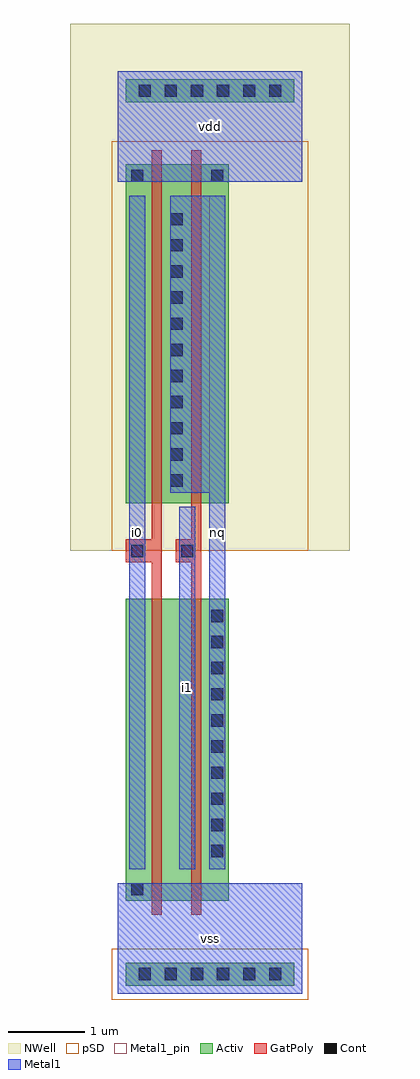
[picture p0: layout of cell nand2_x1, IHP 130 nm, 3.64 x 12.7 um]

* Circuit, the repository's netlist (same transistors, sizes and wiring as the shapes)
* nand2_x1
.subckt nand2_x1 vdd vss nq i0 i1
Xi0_nmos vss i0 _net0 vss sg13_lv_nmos l=0.13um w=3.93um
Xi0_pmos vdd i0 nq vdd sg13_lv_pmos l=0.13um w=4.41um
Xi1_nmos _net0 i1 nq vss sg13_lv_nmos l=0.13um w=3.93um
Xi1_pmos nq i1 vdd vdd sg13_lv_pmos l=0.13um w=4.41um
.ends nand2_x1

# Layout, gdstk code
import gdstk
lib = gdstk.Library(unit=1e-6, precision=1e-09)
def R(c, l, rs):  # rectangles x0, y0, x1, y1
    for r in rs: c.add(gdstk.rectangle(r[:2], r[2:], *l))
def A(c, l, x, y, w, h, nx, ny, dx, dy):  # array of equal rectangles
    R(c, l, [(x+i*dx, y+j*dy, x+i*dx+w, y+j*dy+h) for i in range(nx) for j in range(ny)])
Activ = (1, 0)
GatPoly = (5, 0)
Cont = (6, 0)
Metal1 = (8, 0)
Metal1_pin = (8, 2)
pSD = (14, 0)
NWell = (31, 0)

nand2_x1 = lib.new_cell('nand2_x1')
R(nand2_x1, Activ, [(0.105,0.105,2.295,0.405), (0.2,0.105,2.2,0.405), (0.105,1.21,0.405,1.51), (0.105,1.21,0.375,5.14), (0.105,1.21,0.405,5.14), (0.215,1.21,0.805,5.14), (0.58,1.21,0.95,5.14), (0.645,1.21,0.885,5.14), (0.725,1.21,1.315,5.14), (1.145,1.21,1.445,5.14), (1.155,1.21,1.445,5.14), (1.145,1.705,1.445,5.065), (0.105,6.38,0.405,10.79), (0.105,6.38,0.375,10.79), (0.215,6.38,0.805,10.79), (0.615,6.38,0.915,10.79), (0.645,6.38,0.885,10.79), (0.725,6.38,1.315,10.79), (1.145,6.38,1.445,10.79), (1.155,6.38,1.445,10.79), (0.615,6.525,0.915,10.225), (0.105,10.49,0.405,10.79), (1.145,10.49,1.445,10.79), (0.105,11.595,2.295,11.895), (0.2,11.595,2.2,11.895)])
R(nand2_x1, GatPoly, [(0.445,1.03,0.575,5.32), (0.445,1.03,0.575,6.2), (0.955,1.03,1.085,5.32), (0.955,1.03,1.085,6.2), (0.105,5.61,0.405,5.91), (0.255,5.61,0.51,5.91), (0.755,5.61,1.055,5.91), (0.905,5.61,1.02,5.91), (0.445,6.2,0.575,10.97), (0.955,6.2,1.085,10.97)])
A(nand2_x1, Cont, 0.27, 0.175, 0.16, 0.16, 6, 2, 0.34, 11.49)
A(nand2_x1, Cont, 1.215, 1.775, 0.16, 0.16, 1, 10, 0, 0.34)
A(nand2_x1, Cont, 0.685, 6.595, 0.16, 0.16, 1, 11, 0, 0.34)
R(nand2_x1, Cont, [(0.175,1.28,0.335,1.44), (0.175,5.68,0.335,5.84), (0.825,5.68,0.985,5.84), (0.175,10.56,0.335,10.72), (1.215,10.56,1.375,10.72)])
R(nand2_x1, Metal1, [(0,0,2.4,1.44), (0.27,0.095,2.13,0.415), (0.095,1.28,0.415,1.44), (0.15,1.62,0.36,10.38), (0.8,1.62,1.01,6.335), (1.19,1.62,1.4,10.38), (1.215,1.62,1.375,5.075), (1.215,1.695,1.375,5.075), (0.175,5.6,0.335,5.92), (0.825,5.6,0.985,5.92), (0.685,6.515,0.845,10.38), (0.685,6.515,0.845,10.235), (0.765,6.515,1.295,10.38), (1.19,6.515,1.4,6.835), (0,10.56,2.4,12), (0.095,10.56,0.415,10.72), (1.135,10.56,1.455,10.72), (0.27,11.585,2.13,11.905)])
R(nand2_x1, Metal1_pin, [(0,0,2.4,1.44), (0.15,1.62,0.36,10.38), (0.8,1.62,1.01,6.335), (1.19,1.62,1.4,10.38), (0,10.56,2.4,12)])
R(nand2_x1, pSD, [(-0.075,-0.075,2.475,0.585), (0.02,-0.075,2.38,0.585), (-0.075,5.76,2.475,11.09), (-0.075,6.08,0.585,11.09), (-0.075,6.08,0.555,11.09), (0.145,6.08,0.875,11.09), (0.435,6.08,1.095,11.09), (0.465,6.08,1.065,11.09), (0.655,6.08,1.385,11.09), (0.965,6.08,1.625,11.09), (0.975,6.08,1.625,11.09), (0.035,6.2,0.985,10.97), (0.545,6.2,1.495,10.97), (0.435,6.225,1.095,10.525), (-0.075,10.19,0.585,11.09), (0.965,10.19,1.625,11.09)])
R(nand2_x1, NWell, [(-0.62,5.76,3.02,12.62), (-0.515,5.76,1.025,11.41), (-0.405,5.76,1.425,11.41), (-0.005,5.76,1.535,11.41), (0.105,5.76,1.935,11.41), (0.525,5.76,2.065,11.41), (-0.005,5.905,1.535,10.845), (-0.515,9.87,1.025,11.41), (0.525,9.87,2.065,11.41), (-0.515,10.975,2.915,12.515), (-0.42,10.975,2.82,12.515)])
nand2_x1.add(gdstk.Label('vss', (1.2,0.72), layer=8, texttype=25))
nand2_x1.add(gdstk.Label('vdd', (1.2,11.28), layer=8, texttype=25))
nand2_x1.add(gdstk.Label('i0', (0.255,6), layer=8, texttype=25))
nand2_x1.add(gdstk.Label('nq', (1.295,6), layer=8, texttype=25))
nand2_x1.add(gdstk.Label('i1', (0.905,3.978), layer=8, texttype=25))

lib.write_gds('nand2_x1.gds')
